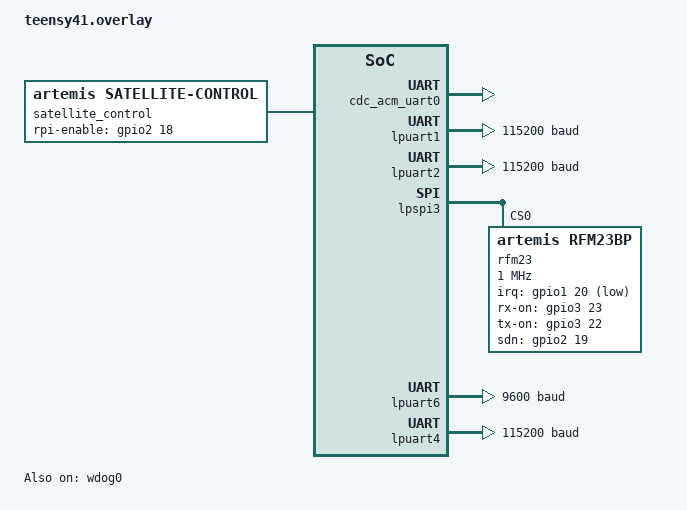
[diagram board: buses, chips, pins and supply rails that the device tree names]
&zephyr_udc0 {
    cdc_acm_uart0: cdc_acm_uart0 {
        compatible = "zephyr,cdc-acm-uart";
    };
};

&lpuart1 {
	status = "okay";
	current-speed = < 115200 >;
};

&lpuart2 {
	status = "okay";
	current-speed = < 115200 >;
};

/*
 * Satellite RF/link controller wiring (ported from FprimeZephyrSatellite).
 * Pin mappings are the Zephyr Teensy LPSPI3 pinctrl mapping plus the RT1062
 * GPIO pads used by the Arduino oracle (ArtemisTeensy_N2_Baremetal).
 */
&lpspi3 {
    status = "okay";

    rfm23: rfm23@0 {
        compatible = "artemis,rfm23bp";
        reg = <0>;
        spi-max-frequency = <1000000>;
        irq-gpios = <&gpio1 20 GPIO_ACTIVE_LOW>; /* Teensy pin 40 */
        rx-on-gpios = <&gpio3 23 GPIO_ACTIVE_HIGH>; /* pin 30 */
        tx-on-gpios = <&gpio3 22 GPIO_ACTIVE_HIGH>; /* pin 31 */
        sdn-gpios = <&gpio2 19 GPIO_ACTIVE_HIGH>; /* pin 37 */
    };
};

&lpuart6 {
    status = "okay";
    current-speed = <9600>; /* PDU Serial1, Teensy pins 0/1 */
};

&lpuart4 {
    status = "okay";
    current-speed = <115200>; /* Pi Serial2, Teensy pins 7/8 */
};

&wdog0 {
    status = "okay"; /* RT1062 WDOG1, matching the Arduino 12 s reset contract */
};

/ {
    chosen {
        zephyr,console = &cdc_acm_uart0;
        zephyr,sram = &ocram2;
    };

    satellite_control {
        compatible = "artemis,satellite-control";
        rpi-enable-gpios = <&gpio2 18 GPIO_ACTIVE_HIGH>; /* pin 36 */
    };
};
